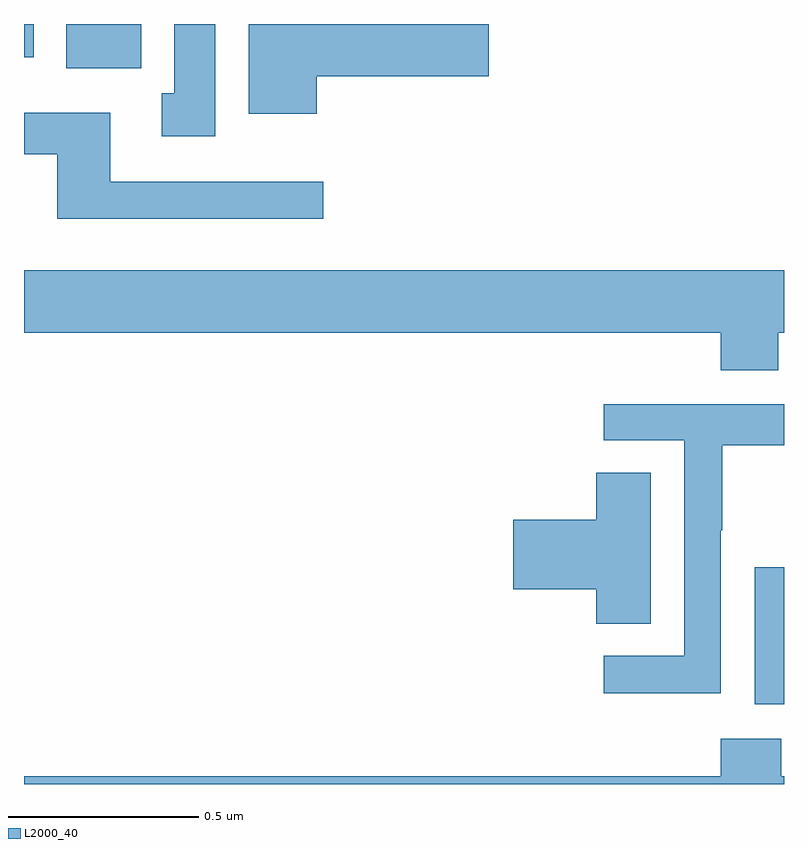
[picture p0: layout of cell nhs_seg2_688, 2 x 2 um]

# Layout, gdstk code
import gdstk
lib = gdstk.Library(unit=1e-6, precision=1e-09)
def R(c, l, rs):  # rectangles x0, y0, x1, y1
    for r in rs: c.add(gdstk.rectangle(r[:2], r[2:], *l))
def P(c, l, *ps):  # polygons
    for p in ps: c.add(gdstk.Polygon(p, *l))
L2000_40 = (2000, 40)

nhs_seg2_688 = lib.new_cell('nhs_seg2_688')
R(nhs_seg2_688, L2000_40, [(120.923,628.01,121,628.371), (119.111,629.684,119.308,629.8), (119,629.712,119.026,629.8)])
P(nhs_seg2_688, L2000_40, [(119.77,629.663),(120.223,629.663),(120.223,629.8),(119.591,629.8),(119.591,629.564),(119.77,629.564)],
  [(119.503,629.8),(119.396,629.8),(119.396,629.618),(119.363,629.618),(119.363,629.505),(119.503,629.505)],
  [(119.788,629.385),(119.227,629.385),(119.227,629.566),(119,629.566),(119,629.457),(119.087,629.457),(119.087,629.288),(119.788,629.288)],
  [(120.985,628.988),(121,628.988),(121,629.152),(119,629.152),(119,628.988),(120.833,628.988),(120.833,628.889),(120.985,628.889)],
  [(120.834,628.468),(120.837,628.468),(120.837,628.692),(121,628.692),(121,628.8),(120.525,628.8),(120.525,628.704),(120.738,628.704),(120.738,628.137),(120.525,628.137),(120.525,628.039),(120.834,628.039)],
  [(120.649,628.619),(120.506,628.619),(120.506,628.496),(120.288,628.496),(120.288,628.313),(120.506,628.313),(120.506,628.222),(120.649,628.222)],
  [(121,627.82),(120.993,627.82),(120.993,627.919),(120.833,627.919),(120.833,627.82),(119,627.82),(119,627.8),(121,627.8)])

lib.write_gds('nhs_seg2_688.gds')
